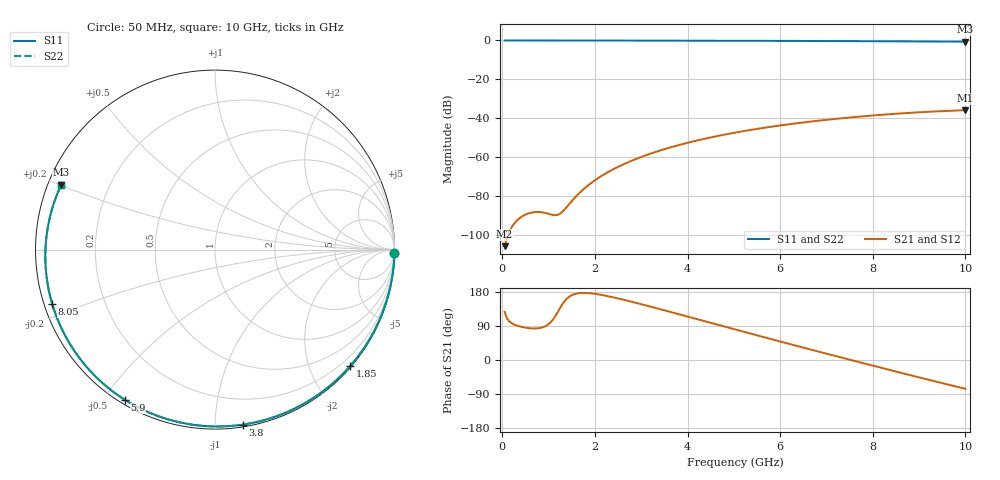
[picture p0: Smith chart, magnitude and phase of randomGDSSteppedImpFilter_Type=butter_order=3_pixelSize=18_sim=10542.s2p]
! freq	dB(S11)	phase(S11)	dB(S12)	phase(S12)
!  dB(S21)	phase(S21)	dB(S22)	phase(S22)
!S-par simulation data
#  GHz  S  DB  R 50
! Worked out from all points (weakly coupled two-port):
!   200 points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, 50 MHz to 10 GHz, reference 50 ohm
!   highest |S21| = -35.79 dB at 10 GHz (marker M1); lowest = -105.5 dB at 50 MHz (marker M2)
!   lowest |S11| = -0.6 dB at 10 GHz (marker M3), VSWR 27.52, Z = 1.89 + j10.1 ohm
!   |S11| at or under -10 dB: nowhere
!   |S22| runs from -0.6 to 0.0 dB; largest |S21 - S12| = 0
!   S11 on the Smith chart (normalised r, x): 50 MHz: open; 1.85 GHz: 0.02, -2.70; 3.8 GHz: 0.02, -1.17; 5.9 GHz: 0.02, -0.57; 8.05 GHz: 0.02, -0.16; 10 GHz: 0.04, +0.20
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0.05  -0.00 -1.1  -105.55 127.3  -105.55 127.3  -0.00 -1.1
0.75  -0.02 -16.7  -87.99 83.5  -87.99 83.5  -0.02 -16.7
1.55  -0.04 -34.2  -81.09 173.5  -81.09 173.5  -0.04 -34.2
1.6  -0.04 -35.3  -79.82 175.2  -79.82 175.2  -0.04 -35.3
1.75  -0.05 -38.6  -76.40 177.0  -76.40 177.0  -0.05 -38.6
1.85  -0.05 -40.7  -74.41 176.6  -74.41 176.6  -0.05 -40.7
2.15  -0.06 -47.1  -69.41 171.6  -69.41 171.6  -0.06 -47.1
2.5  -0.07 -54.4  -64.86 162.5  -64.86 162.5  -0.07 -54.4
2.9  -0.08 -62.7  -60.69 150.4  -60.69 150.4  -0.08 -62.7
3.4  -0.10 -72.9  -56.52 134.4  -56.52 134.4  -0.10 -72.9
3.8  -0.11 -80.9  -53.75 121.3  -53.75 121.3  -0.11 -80.9
4.4  -0.13 -92.6  -50.27 101.4  -50.27 101.4  -0.13 -92.6
5.05  -0.16 -105.0  -47.19 79.9  -47.19 79.9  -0.16 -105.0
5.9  -0.21 -121.0  -43.94 52.1  -43.94 52.1  -0.21 -121.0
6.7  -0.27 -135.9  -41.50 26.3  -41.50 26.3  -0.27 -135.9
7.4  -0.33 -149.0  -39.75 4.0  -39.75 4.0  -0.33 -149.0
8.05  -0.39 -161.6  -38.39 -16.4  -38.39 -16.4  -0.39 -161.5
8.35  -0.42 -167.5  -37.85 -25.8  -37.85 -25.8  -0.42 -167.5
8.8  -0.47 -176.6  -37.13 -39.7  -37.13 -39.7  -0.47 -176.6
9.2  -0.52 175.0  -36.59 -52.0  -36.59 -52.0  -0.52 175.0
9.6  -0.58 166.3  -36.14 -64.1  -36.14 -64.1  -0.58 166.3
10  -0.63 157.2  -35.79 -76.0  -35.79 -76.0  -0.63 157.2
